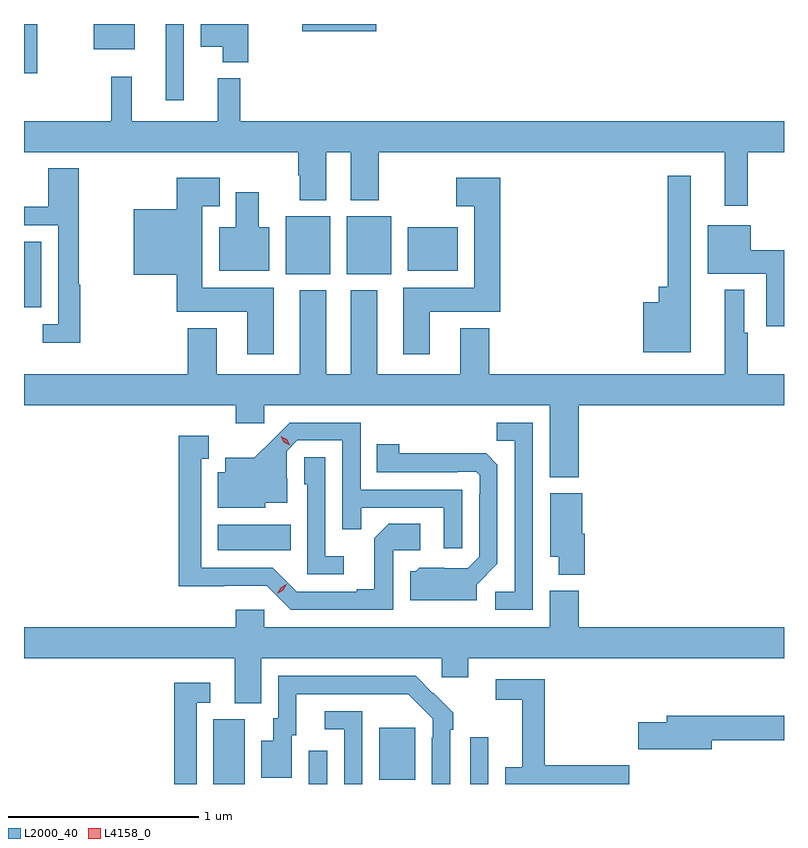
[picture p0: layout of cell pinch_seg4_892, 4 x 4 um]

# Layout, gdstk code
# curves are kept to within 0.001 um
import gdstk
lib = gdstk.Library(unit=1e-6, precision=1e-09)
def R(c, l, rs):  # rectangles x0, y0, x1, y1
    for r in rs: c.add(gdstk.rectangle(r[:2], r[2:], *l))
def P(c, l, *ps):  # polygons
    for p in ps: c.add(gdstk.Polygon(p, *l))
L2000_40 = (2000, 40)
L4158_0 = (4158, 0)

pinch_seg4_892 = lib.new_cell('pinch_seg4_892')
R(pinch_seg4_892, L2000_40, [(754.508,824.131,754.672,824.472), (755.01,824.131,755.106,824.305), (755.859,824.131,755.955,824.377), (755.381,824.153,755.569,824.428), (754.532,825.362,754.916,825.496), (753.511,826.64,753.601,826.984), (754.889,826.814,755.122,827.119), (755.21,826.814,755.443,827.119), (755.531,826.832,755.794,827.062), (754.256,827.73,754.353,828.131), (753.511,827.871,753.58,828.131), (753.878,827.999,754.093,828.131), (754.976,828.094,755.365,828.131)])
P(pinch_seg4_892, L2000_40, [(754.691,828.131),(754.442,828.131),(754.442,828.011),(754.556,828.011),(754.556,827.93),(754.691,827.93)],
  [(757.321,827.456),(757.511,827.456),(757.511,827.62),(754.649,827.62),(754.649,827.845),(754.532,827.845),(754.532,827.62),(754.079,827.62),(754.079,827.854),(753.969,827.854),(753.969,827.62),(753.511,827.62),(753.511,827.456),(754.954,827.456),(754.954,827.336),(754.961,827.336),(754.961,827.204),(755.101,827.204),(755.101,827.456),(755.231,827.456),(755.231,827.204),(755.379,827.204),(755.379,827.456),(757.199,827.456),(757.199,827.175),(757.321,827.175)],
  [(753.806,826.758),(753.799,826.758),(753.799,827.371),(753.638,827.371),(753.638,827.169),(753.511,827.169),(753.511,827.073),(753.69,827.073),(753.69,826.551),(753.609,826.551),(753.609,826.454),(753.806,826.454)],
  [(757.021,827.332),(756.9,827.332),(756.9,826.747),(756.851,826.747),(756.851,826.666),(756.77,826.666),(756.77,826.403),(757.021,826.403)],
  [(755.647,826.616),(756.017,826.616),(756.017,827.323),(755.787,827.323),(755.787,827.171),(755.882,827.171),(755.882,826.744),(755.507,826.744),(755.507,826.392),(755.647,826.392)],
  [(754.825,826.744),(754.45,826.744),(754.45,827.171),(754.54,827.171),(754.54,827.323),(754.316,827.323),(754.316,827.155),(754.088,827.155),(754.088,826.811),(754.316,826.811),(754.316,826.616),(754.685,826.616),(754.685,826.392),(754.825,826.392)],
  [(754.801,827.062),(754.747,827.062),(754.747,827.245),(754.625,827.245),(754.625,827.062),(754.538,827.062),(754.538,826.832),(754.801,826.832)],
  [(757.511,826.94),(757.336,826.94),(757.336,827.071),(757.109,827.071),(757.109,826.817),(757.418,826.817),(757.418,826.539),(757.511,826.539)],
  [(756.431,826.124),(757.511,826.124),(757.511,826.288),(757.321,826.288),(757.321,826.505),(757.303,826.505),(757.303,826.732),(757.199,826.732),(757.199,826.288),(755.96,826.288),(755.96,826.531),(755.807,826.531),(755.807,826.288),(755.371,826.288),(755.371,826.729),(755.231,826.729),(755.231,826.288),(755.101,826.288),(755.101,826.729),(754.961,826.729),(754.961,826.288),(754.525,826.288),(754.525,826.531),(754.373,826.531),(754.373,826.288),(753.511,826.288),(753.511,826.124),(754.625,826.124),(754.625,826.029),(754.776,826.029),(754.776,826.124),(756.278,826.124),(756.278,825.746),(756.431,825.746)],
  [(756.189,826.032),(755.998,826.032),(755.998,825.937),(756.093,825.937),(756.093,825.144),(755.991,825.144),(755.991,825.048),(756.189,825.048)],
  [(755.817,825.681),(755.283,825.681),(755.283,826.032),(754.91,826.032),(754.723,825.847),(754.571,825.847),(754.571,825.771),(754.532,825.771),(754.532,825.584),(754.782,825.584),(754.782,825.611),(754.897,825.611),(754.897,825.74),(754.893,825.74),(754.893,825.882),(754.95,825.939),(755.187,825.939),(755.187,825.472),(755.285,825.472),(755.285,825.585),(755.721,825.585),(755.721,825.372),(755.817,825.372)],
  [(755.454,825.36),(755.596,825.36),(755.596,825.5),(755.431,825.5),(755.355,825.424),(755.355,825.157),(755.261,825.157),(755.261,825.144),(754.947,825.144),(754.821,825.27),(754.444,825.27),(754.444,825.843),(754.483,825.843),(754.483,825.964),(754.326,825.964),(754.326,825.173),(754.788,825.174),(754.914,825.048),(755.454,825.048)],
  [(755.893,825.18),(756.003,825.29),(756.003,825.812),(755.944,825.871),(755.487,825.872),(755.487,825.919),(755.368,825.919),(755.368,825.771),(755.792,825.771),(755.792,825.774),(755.892,825.774),(755.91,825.756),(755.91,825.656),(755.907,825.656),(755.907,825.327),(755.847,825.267),(755.59,825.268),(755.574,825.252),(755.543,825.252),(755.543,825.098),(755.893,825.098)],
  [(755.194,825.331),(755.097,825.331),(755.097,825.851),(754.986,825.851),(754.986,825.708),(755.001,825.708),(755.001,825.234),(755.194,825.234)],
  [(756.461,825.447),(756.448,825.447),(756.448,825.661),(756.281,825.661),(756.281,825.326),(756.326,825.326),(756.326,825.233),(756.461,825.233)],
  [(754.759,824.792),(755.709,824.792),(755.709,824.694),(755.848,824.694),(755.848,824.792),(757.511,824.792),(757.511,824.956),(756.431,824.956),(756.431,825.148),(756.278,825.148),(756.278,824.956),(754.776,824.956),(754.776,825.049),(754.625,825.049),(754.625,824.956),(753.511,824.956),(753.511,824.792),(754.619,824.792),(754.619,824.557),(754.759,824.557)],
  [(755.754,824.417),(755.769,824.417),(755.769,824.505),(755.572,824.7),(754.848,824.7),(754.848,824.478),(754.823,824.478),(754.823,824.359),(754.76,824.359),(754.76,824.163),(754.921,824.163),(754.921,824.388),(754.945,824.388),(754.945,824.604),(755.533,824.604),(755.661,824.475),(755.661,824.375),(755.658,824.375),(755.658,824.131),(755.754,824.131)],
  [(756.697,824.231),(756.251,824.231),(756.251,824.682),(755.994,824.682),(755.994,824.574),(756.134,824.574),(756.134,824.218),(756.044,824.218),(756.044,824.131),(756.697,824.131)],
  [(754.419,824.559),(754.492,824.559),(754.492,824.665),(754.303,824.665),(754.303,824.131),(754.419,824.131)],
  [(755.292,824.514),(755.094,824.514),(755.094,824.418),(755.196,824.418),(755.196,824.131),(755.292,824.131)],
  [(757.132,824.362),(757.511,824.362),(757.511,824.491),(756.893,824.491),(756.893,824.457),(756.744,824.457),(756.744,824.315),(757.132,824.315)])
P(pinch_seg4_892, L4158_0, [(754.91,825.915),(754.879,825.931),(754.862,825.961),(754.862,825.961),(754.863,825.961),(754.893,825.946),(754.91,825.916),(754.91,825.915)],
  [(754.844,825.133),(754.844,825.133),(754.861,825.165),(754.893,825.184),(754.893,825.184),(754.893,825.184),(754.876,825.152),(754.844,825.133)])

lib.write_gds('pinch_seg4_892.gds')
